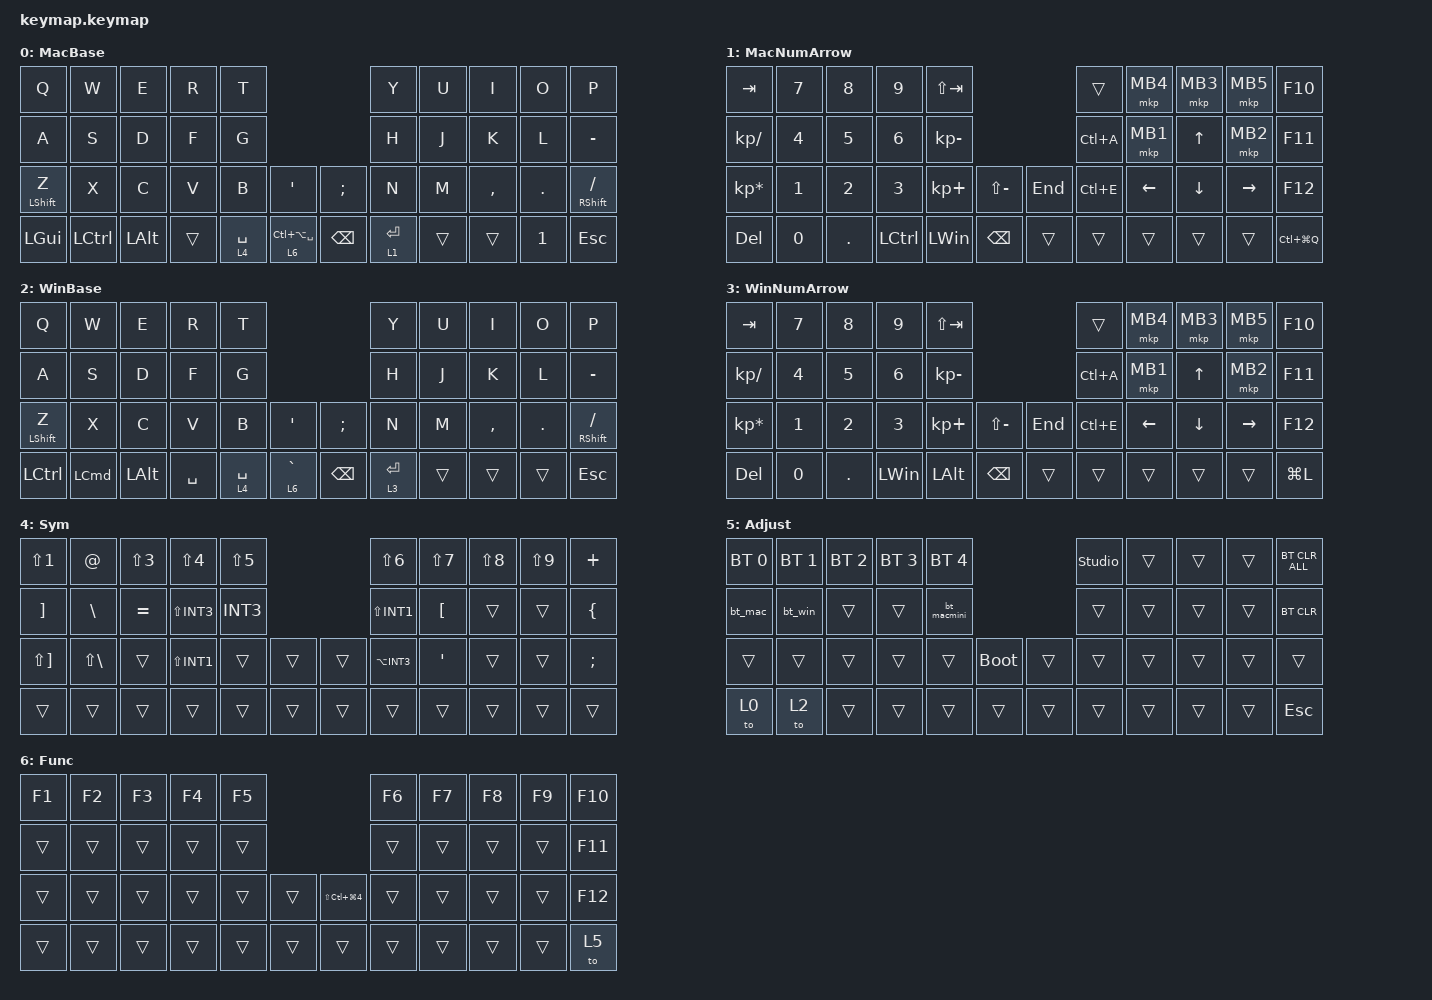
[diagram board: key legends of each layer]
#include <dt-bindings/zmk/input_transform.h>
#include <input/processors.dtsi>
#include <behaviors.dtsi>
#include <dt-bindings/zmk/bt.h>
#include <dt-bindings/zmk/keys.h>
#include <dt-bindings/zmk/pointing.h>

&mt {
    flavor = "balanced";
    quick-tap-ms = <0>;
};

/* レイヤー4の間だけ、トラックボールのXY移動を横・縦スクロールへ変換 */

&pointing_listener {
    /* 通常マウス：左右だけ反転、速度は半分 */
    input-processors =
        <&zip_xy_transform (INPUT_TRANSFORM_X_INVERT | INPUT_TRANSFORM_Y_INVERT)>,
        <&zip_xy_scaler 1 2>;

    scroll_layer {
    layers = <4>;

    input-processors =
        <&zip_xy_scaler 1 4>,
        <&zip_xy_to_scroll_mapper>,
        <&zip_scroll_transform INPUT_TRANSFORM_X_INVERT>,
        <&zip_scroll_scaler 1 16>;
    };
};

/ {
    /* torabo-tsuki LP Sの44キー配列を使用 */

    chosen { zmk,physical-layout = &physical_layout_s; };

    combos {
        compatible = "zmk,combos";

        tab {
            bindings = <&kp TAB>;
            key-positions = <11 12>;
        };

        shift_tab {
            bindings = <&kp LS(TAB)>;
            key-positions = <12 13>;
        };

        muhennkann {
            bindings = <&to_layer_0 INT_MUHENKAN>;
            key-positions = <11 10>;
        };

        double_quotation {
            bindings = <&kp DOUBLE_QUOTES>;
            key-positions = <18 19>;
        };

        eq {
            bindings = <&kp EQUAL>;
            key-positions = <22 23>;
        };

        LeftClick {
            bindings = <&mkp MB1>;
            key-positions = <16 17>;
        };

        RightClick {
            bindings = <&mkp MB2>;
            key-positions = <17 18>;
        };

        PrevClick {
            bindings = <&mkp MB4>;
            key-positions = <6 7>;
        };

        NextClick {
            bindings = <&mkp MB5>;
            key-positions = <7 8>;
        };

        Delete {
            bindings = <&kp DELETE>;
            key-positions = <8 9>;
        };
    };

    macros {
        to_layer_0: to_layer_0 {
            compatible = "zmk,behavior-macro-one-param";
            #binding-cells = <1>;
            bindings = <&to 0 &macro_param_1to1 &kp MACRO_PLACEHOLDER>;
            label = "TO_LAYER_0";
        };

        bt_mac: bt_mac {
            compatible = "zmk,behavior-macro";
            #binding-cells = <0>;
            bindings = <&bt BT_SEL 0>, <&macro_tap_time 200>, <&to 0>;

            label = "BT_MAC";
        };

        bt_win: bt_win {
            compatible = "zmk,behavior-macro";
            #binding-cells = <0>;
            bindings = <&bt BT_SEL 1>, <&macro_tap_time 200>, <&to 2>;

            label = "BT_WIN";
        };

        bt_macmini: bt_macmini {
            compatible = "zmk,behavior-macro";
            #binding-cells = <0>;
            bindings = <&bt BT_SEL 4>, <&macro_tap_time 200>, <&to 0>;

            label = "BT_MACMINI";
        };
    };

    behaviors {
        lt_to_layer_0: lt_to_layer_0 {
            compatible = "zmk,behavior-hold-tap";
            label = "LAYER_TAP_TO_0";
            bindings = <&mo>, <&to_layer_0>;

            #binding-cells = <2>;
            tapping-term-ms = <200>;
        };
    };

    keymap {
        compatible = "zmk,keymap";

        /* 10 + 10 + 12 + 12 = 44 keys */

        MacBase {
            bindings = <
&kp Q             &kp W      &kp E     &kp R   &kp T                                              &kp Y        &kp U   &kp I      &kp O         &kp P
&kp A             &kp S      &kp D     &kp F   &kp G                                              &kp H        &kp J   &kp K      &kp L         &kp MINUS
&mt LEFT_SHIFT Z  &kp X      &kp C     &kp V   &kp B        &kp SINGLE_QUOTE       &kp SEMICOLON  &kp N        &kp M   &kp COMMA  &kp DOT       &mt RIGHT_SHIFT SLASH
&kp LGUI          &kp LCTRL  &kp LALT  &trans  &lt 4 SPACE  &lt 6 LC(LA(SPACE))    &kp BACKSPACE  &lt 1 ENTER  &trans  &trans     &kp NUMBER_1  &kp ESC
            >;
        };

        MacNumArrow {
            bindings = <
&kp TAB          &kp NUMBER_7  &kp NUMBER_8  &kp NUMBER_9  &kp LS(TAB)                             &trans     &mkp MB4        &mkp MB3        &mkp MB5         &kp F10
&kp KP_SLASH     &kp NUMBER_4  &kp NUMBER_5  &kp NUMBER_6  &kp KP_MINUS                            &kp LC(A)  &mkp MB1        &kp UP_ARROW    &mkp MB2         &kp F11
&kp KP_MULTIPLY  &kp NUMBER_1  &kp NUMBER_2  &kp NUMBER_3  &kp KP_PLUS   &kp LS(MINUS)    &kp END  &kp LC(E)  &kp LEFT_ARROW  &kp DOWN_ARROW  &kp RIGHT_ARROW  &kp F12
&kp DELETE       &kp N0        &kp DOT       &kp LCTRL     &kp LEFT_WIN  &kp BACKSPACE    &trans   &trans     &trans          &trans          &trans           &kp LC(LG(Q))
            >;
        };

        WinBase {
            bindings = <
&kp Q             &kp W             &kp E     &kp R      &kp T                                           &kp Y        &kp U   &kp I      &kp O    &kp P
&kp A             &kp S             &kp D     &kp F      &kp G                                           &kp H        &kp J   &kp K      &kp L    &kp MINUS
&mt LEFT_SHIFT Z  &kp X             &kp C     &kp V      &kp B        &kp SINGLE_QUOTE    &kp SEMICOLON  &kp N        &kp M   &kp COMMA  &kp DOT  &mt RIGHT_SHIFT SLASH
&kp LCTRL         &kp LEFT_COMMAND  &kp LALT  &kp SPACE  &lt 4 SPACE  &lt 6 GRAVE         &kp BACKSPACE  &lt 3 ENTER  &trans  &trans     &trans   &kp ESC
            >;
        };

        WinNumArrow {
            bindings = <
&kp TAB          &kp NUMBER_7  &kp NUMBER_8  &kp NUMBER_9  &kp LS(TAB)                             &trans     &mkp MB4        &mkp MB3        &mkp MB5         &kp F10
&kp KP_SLASH     &kp NUMBER_4  &kp NUMBER_5  &kp NUMBER_6  &kp KP_MINUS                            &kp LC(A)  &mkp MB1        &kp UP_ARROW    &mkp MB2         &kp F11
&kp KP_MULTIPLY  &kp NUMBER_1  &kp NUMBER_2  &kp NUMBER_3  &kp KP_PLUS   &kp LS(MINUS)    &kp END  &kp LC(E)  &kp LEFT_ARROW  &kp DOWN_ARROW  &kp RIGHT_ARROW  &kp F12
&kp DELETE       &kp N0        &kp DOT       &kp LEFT_WIN  &kp LEFT_ALT  &kp BACKSPACE    &trans   &trans     &trans          &trans          &trans           &kp LG(L)
            >;
        };

        Sym {
            bindings = <
&kp LS(NUMBER_1)       &kp AT_SIGN   &kp LS(NUMBER_3)  &kp LS(NUMBER_4)  &kp LS(NUMBER_5)                    &kp LS(NUMBER_6)  &kp LS(NUMBER_7)  &kp LS(NUMBER_8)  &kp LS(NUMBER_9)  &kp PLUS
&kp RBKT               &kp BSLH      &kp EQUAL         &kp LS(INT3)      &kp INT3                            &kp LS(INT1)      &kp LEFT_BRACKET  &trans            &trans            &kp LEFT_BRACE
&kp LS(RIGHT_BRACKET)  &kp LS(BSLH)  &trans            &kp LS(INT1)      &trans            &trans    &trans  &kp LA(INT3)      &kp SINGLE_QUOTE  &trans            &trans            &kp SEMICOLON
&trans                 &trans        &trans            &trans            &trans            &trans    &trans  &trans            &trans            &trans            &trans            &trans
            >;
        };

        Adjust {
            bindings = <
&bt BT_SEL 0  &bt BT_SEL 1  &bt BT_SEL 2  &bt BT_SEL 3  &bt BT_SEL 4                         &studio_unlock  &trans  &trans  &trans  &bt BT_CLR_ALL
&bt_mac       &bt_win       &trans        &trans        &bt_macmini                          &trans          &trans  &trans  &trans  &bt BT_CLR
&trans        &trans        &trans        &trans        &trans        &bootloader    &trans  &trans          &trans  &trans  &trans  &trans
&to 0         &to 2         &trans        &trans        &trans        &trans         &trans  &trans          &trans  &trans  &trans  &kp ESC
            >;
        };

        Func {
            bindings = <
&kp F1  &kp F2  &kp F3  &kp F4  &kp F5                                      &kp F6  &kp F7  &kp F8  &kp F9  &kp F10
&trans  &trans  &trans  &trans  &trans                                      &trans  &trans  &trans  &trans  &kp F11
&trans  &trans  &trans  &trans  &trans  &trans    &kp LS(LC(LG(NUMBER_4)))  &trans  &trans  &trans  &trans  &kp F12
&trans  &trans  &trans  &trans  &trans  &trans    &trans                    &trans  &trans  &trans  &trans  &to 5
            >;
        };
    };
};
